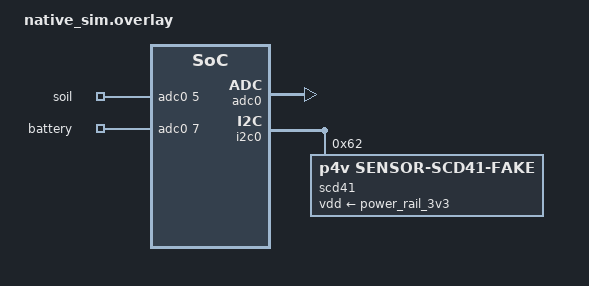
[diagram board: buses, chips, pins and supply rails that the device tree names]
/* Copyright (c) 2025 P4V77 */
/ {
    power_rail_3v3: regulator-3v3 {
        compatible = "p4v,fake-regulator";
        regulator-name = "3V3_RAIL";
        regulator-min-microvolt = <3300000>;
        regulator-max-microvolt = <3300000>;
        status = "okay";
    };

    zephyr,user {
        io-channels = <&adc0 5>, <&adc0 7>;
        io-channel-names = "soil", "battery";
        voltage-divider = <100000 100000>;
        resolution = <12>;
    };

    aliases {
        power-rail-3v3 = &power_rail_3v3;
    };
};

/* Extend existing native_sim adc0 node */
&adc0 {
    compatible = "zephyr,adc-emul";
    status = "okay";
    #io-channel-cells = <1>;
    nchannels = <10>;
    ref-internal-mv = <600>;
    ref-external0-mv = <0>;
    ref-external1-mv = <3300>;
    ref-vdd-mv = <3300>;  /* was missing — could cause gain_invert to fail */
};

/* =========================
 * I2C devices (FAKE)
 * ========================= */
&i2c0 {
    compatible = "zephyr,i2c-emul-controller";
    status = "okay";

    scd41: scd41@62 {
        compatible = "p4v,sensor-scd41-fake";
        reg = <0x62>;
        vdd-supply = <&power_rail_3v3>;
        status = "okay";
    };
};


/ {
    chosen {
        zephyr,storage = &storage_partition;
    };
};

/* =========================
 * Aliases (MUST be top-level)
 * ========================= */
/ {
    aliases {
        co2-sensor = &scd41;
    };
};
